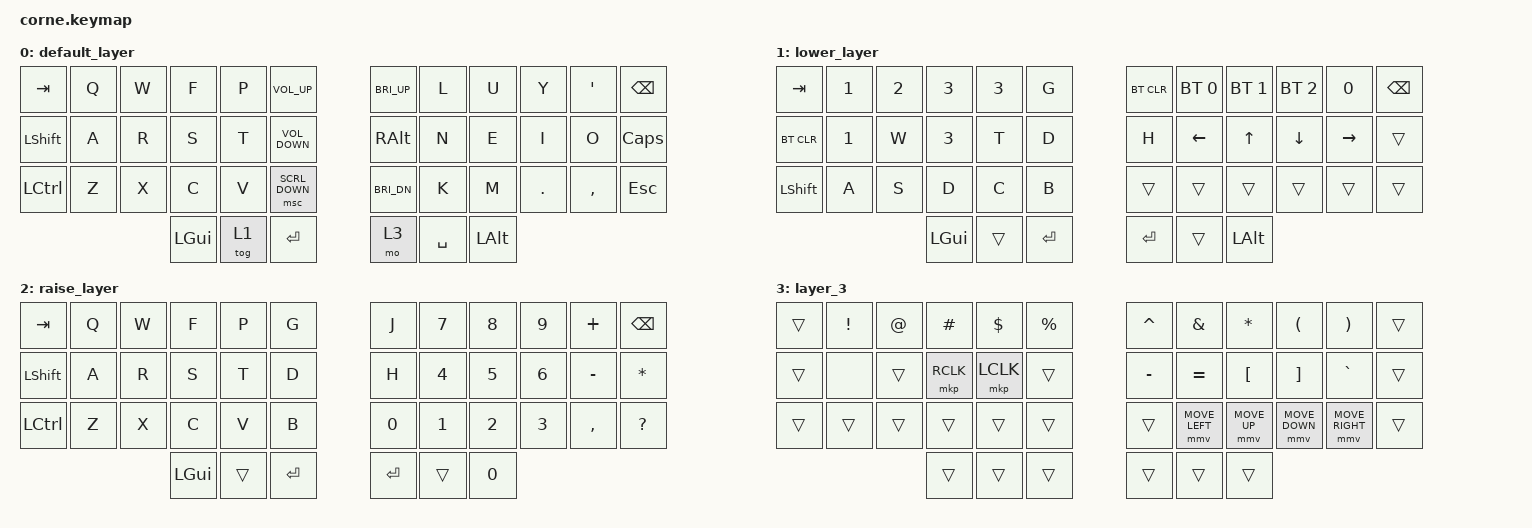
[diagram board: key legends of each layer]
/*
 * Copyright (c) 2020 The ZMK Contributors
 *
 * SPDX-License-Identifier: MIT
 */

#include <behaviors.dtsi>
#include <dt-bindings/zmk/bt.h>
#include <dt-bindings/zmk/keys.h>
#include <dt-bindings/zmk/pointing.h>

/ {
    macros {
        accent_o: accent_o {
            compatible = "zmk,behavior-macro";
            #binding-cells = <0>;
            bindings = <&macro_tap>, <&kp LEFT_BRACKET &kp O>;

            label = "ACCENT_O";
        };

        accent_i: accent_i {
            compatible = "zmk,behavior-macro";
            #binding-cells = <0>;
            bindings = <&macro_tap>, <&kp LEFT_BRACKET &kp I>;

            label = "ACCENT_I";
        };

        accent_u: accent_u {
            compatible = "zmk,behavior-macro";
            #binding-cells = <0>;
            bindings = <&macro_tap>, <&kp LEFT_BRACKET &kp U>;

            label = "ACCENT_U";
        };

        accent_e: accent_e {
            compatible = "zmk,behavior-macro";
            #binding-cells = <0>;
            bindings = <&macro_tap>, <&kp LEFT_BRACKET &kp E>;

            label = "ACCENT_E";
        };

        accent_A: accent_A {
            compatible = "zmk,behavior-macro";
            #binding-cells = <0>;
            bindings = <&macro_tap>, <&kp LEFT_BRACKET &kp A>;

            label = "ACCENT_A";
        };
    };

    combos {
        compatible = "zmk,combos";

        accentO {
            bindings = <&accent_o>;
            key-positions = <10 22>;
        };

        accentI {
            bindings = <&accent_i>;
            key-positions = <10 21>;
        };

        accentU {
            bindings = <&accent_u>;
            key-positions = <10 8>;
        };

        accentE {
            bindings = <&accent_e>;
            key-positions = <10 20>;
        };

        accentA {
            bindings = <&accent_A>;
            key-positions = <10 13>;
        };

        d {
            bindings = <&kp D>;
            key-positions = <14 15>;
        };

        g {
            bindings = <&kp G>;
            key-positions = <15 4>;
        };

        b {
            bindings = <&kp B>;
            key-positions = <27 28>;
        };

        h {
            bindings = <&kp H>;
            key-positions = <19 20>;
        };

        j {
            bindings = <&kp J>;
            key-positions = <20 9>;
        };

        b2 {
            bindings = <&kp B>;
            key-positions = <32 31>;
        };

        num {
            bindings = <&tog 2>;
            key-positions = <39 37>;
        };

        slash {
            bindings = <&kp RA(Q)>;
            key-positions = <41 1>;
        };

        questionmark {
            bindings = <&kp RA(W)>;
            key-positions = <41 2>;
        };

        cidilha {
            bindings = <&kp SEMICOLON>;
            key-positions = <27 26>;
        };
    };

    keymap {
        compatible = "zmk,keymap";

        default_layer {
            // -----------------------------------------------------------------------------------------
            // |  TAB |  Q  |  W  |  E  |  R  |  T  |   |  Y  |  U   |  I  |  O  |  P  | BSPC |
            // | CTRL |  A  |  S  |  D  |  F  |  G  |   |  H  |  J   |  K  |  L  |  ;  |  '   |
            // | SHFT |  Z  |  X  |  C  |  V  |  B  |   |  N  |  M   |  ,  |  .  |  /  | ESC  |
            //                    | GUI | LWR | SPC |   | ENT | RSE  | ALT |

            bindings = <
&kp TAB    &kp Q  &kp W  &kp F     &kp P   &kp C_VOL_UP         &kp C_BRI_UP   &kp L      &kp U     &kp Y    &kp SQT    &kp BSPC
&kp LSHFT  &kp A  &kp R  &kp S     &kp T   &kp C_VOLUME_DOWN    &kp RIGHT_ALT  &kp N      &kp E     &kp I    &kp O      &kp CAPSLOCK
&kp LCTRL  &kp Z  &kp X  &kp C     &kp V   &msc SCRL_DOWN       &kp C_BRI_DN   &kp K      &kp M     &kp DOT  &kp COMMA  &kp ESC
                         &kp LGUI  &tog 1  &kp RET              &mo 3          &kp SPACE  &kp LALT
            >;
        };

        lower_layer {
            // -----------------------------------------------------------------------------------------
            // |  TAB |  1  |  2  |  3  |  4  |  5  |   |  6  |  7  |  8  |  9  |  0  | BSPC |
            // | BTCLR| BT1 | BT2 | BT3 | BT4 | BT5 |   | LFT | DWN |  UP | RGT |     |      |
            // | SHFT |     |     |     |     |     |   |     |     |     |     |     |      |
            //                    | GUI |     | SPC |   | ENT |     | ALT |

            bindings = <
&kp TAB     &kp NUMBER_1  &kp N2  &kp N3    &kp NUMBER_3  &kp G      &bt BT_CLR  &bt BT_SEL 0  &bt BT_SEL 1  &bt BT_SEL 2    &kp N0     &kp BSPC
&bt BT_CLR  &kp N1        &kp W   &kp N3    &kp T         &kp D      &kp H       &kp LEFT      &kp UP_ARROW  &kp DOWN_ARROW  &kp RIGHT  &trans
&kp LSHFT   &kp A         &kp S   &kp D     &kp C         &kp B      &trans      &trans        &trans        &trans          &trans     &trans
                                  &kp LGUI  &trans        &kp RET    &kp RET     &trans        &kp LALT
            >;
        };

        raise_layer {
            // -----------------------------------------------------------------------------------------
            // |  TAB |  !  |  @  |  #  |  $  |  %  |   |  ^  |  &  |  *  |  (  |  )  | BSPC |
            // | CTRL |     |     |     |     |     |   |  -  |  =  |  [  |  ]  |  \  |  `   |
            // | SHFT |     |     |     |     |     |   |  _  |  +  |  {  |  }  | "|" |  ~   |
            //                    | GUI |     | SPC |   | ENT |     | ALT |

            bindings = <
&kp TAB    &kp Q  &kp W  &kp F     &kp P   &kp G      &kp J    &kp N7  &kp N8  &kp N9  &kp PLUS   &kp BSPC
&kp LSHFT  &kp A  &kp R  &kp S     &kp T   &kp D      &kp H    &kp N4  &kp N5  &kp N6  &kp MINUS  &kp ASTERISK
&kp LCTRL  &kp Z  &kp X  &kp C     &kp V   &kp B      &kp N0   &kp N1  &kp N2  &kp N3  &kp COMMA  &kp QUESTION
                         &kp LGUI  &trans  &kp RET    &kp RET  &trans  &kp N0
            >;
        };

        layer_3 {
            bindings = <
&trans  &kp EXCLAMATION  &kp AT_SIGN  &kp POUND  &kp DOLLAR  &kp PERCENT    &kp CARET  &kp AMPERSAND   &kp ASTERISK      &kp LEFT_PARENTHESIS  &kp RIGHT_PARENTHESIS  &trans
&trans  &none            &trans       &mkp RCLK  &mkp LCLK   &trans         &kp MINUS  &kp EQUAL       &kp LEFT_BRACKET  &kp RIGHT_BRACKET     &kp GRAVE              &trans
&trans  &trans           &trans       &trans     &trans      &trans         &trans     &mmv MOVE_LEFT  &mmv MOVE_UP      &mmv MOVE_DOWN        &mmv MOVE_RIGHT        &trans
                                      &trans     &trans      &trans         &trans     &trans          &trans
            >;
        };
    };
};
